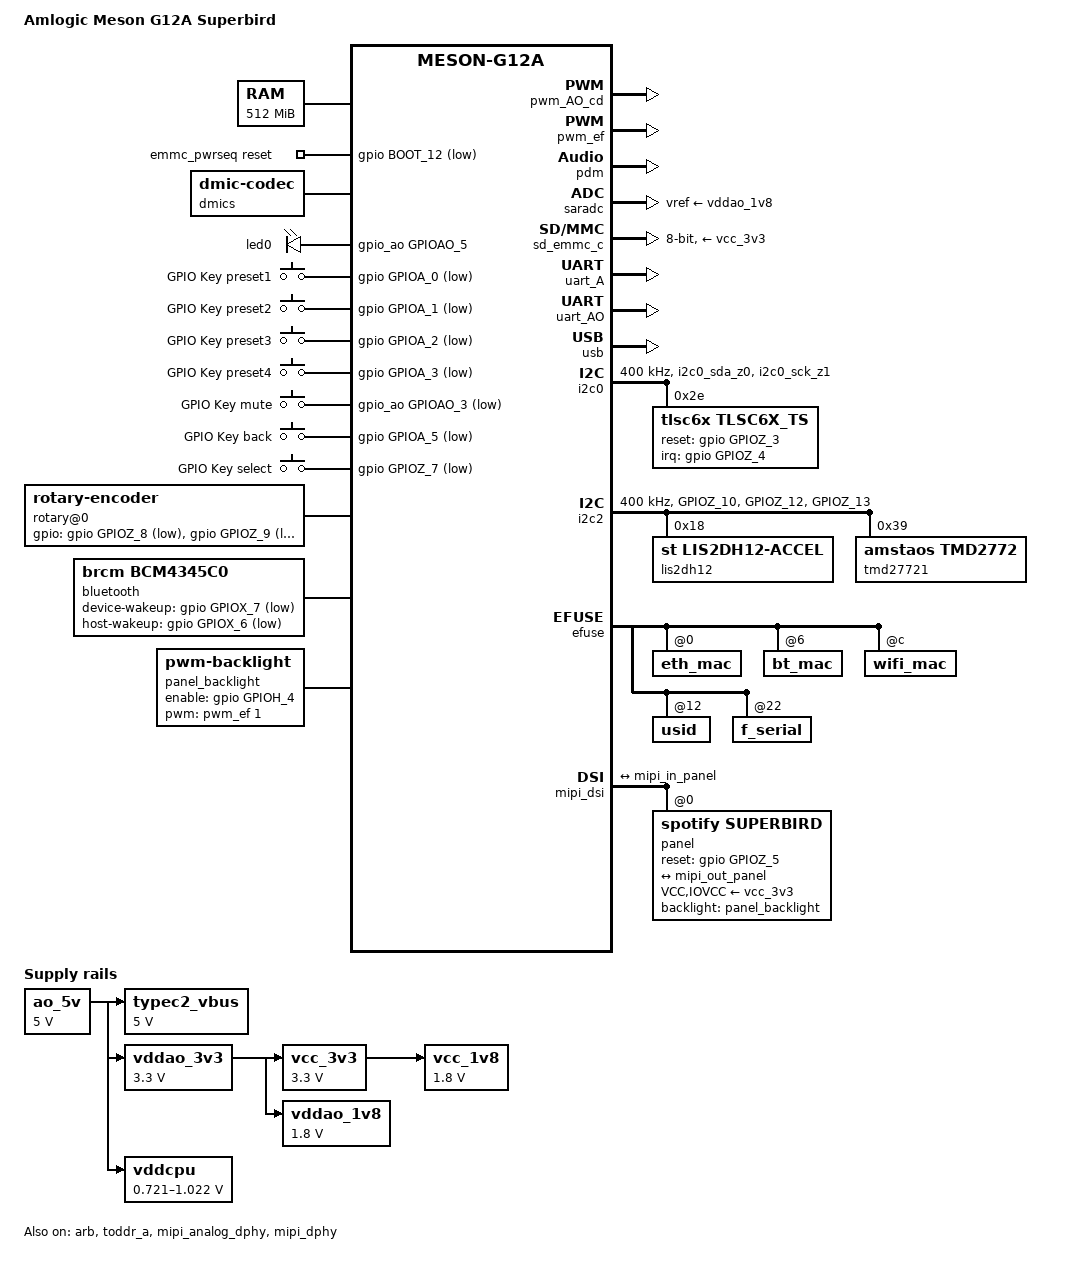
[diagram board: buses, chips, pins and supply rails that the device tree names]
// SPDX-License-Identifier: (GPL-2.0+ OR MIT)
/*
 * Copyright (c) 2018 BayLibre SAS. All rights reserved.
 */

/dts-v1/;

#include "meson-g12a.dtsi"
#include <dt-bindings/gpio/meson-g12a-gpio.h>

/ {
	compatible = "amlogic,u200", "amlogic,g12a";
	model = "Amlogic Meson G12A Superbird";

	aliases {
		serial0 = &uart_AO;
	};

	chosen {
		stdout-path = "serial0:115200n8";
	};

	memory@0 {
		device_type = "memory";
		reg = <0x0 0x0 0x0 0x20000000>;
	};

	emmc_pwrseq: emmc-pwrseq {
		compatible = "mmc-pwrseq-emmc";
		reset-gpios = <&gpio BOOT_12 GPIO_ACTIVE_LOW>;
	};

	// sdio_pwrseq: sdio-pwrseq {
	// 	compatible = "mmc-pwrseq-simple";
	// 	reset-gpios = <&gpio GPIOX_6 GPIO_ACTIVE_LOW>;
	// 	clocks = <&wifi32k>;
	// 	clock-names = "ext_clock";
	// };

	typec2_vbus: regulator-typec2_vbus {
		compatible = "regulator-fixed";
		regulator-name = "TYPEC2_VBUS";
		regulator-min-microvolt = <5000000>;
		regulator-max-microvolt = <5000000>;
		vin-supply = <&ao_5v>;
	};

	ao_5v: regulator-ao_5v {
		compatible = "regulator-fixed";
		regulator-name = "AO_5V";
		regulator-min-microvolt = <5000000>;
		regulator-max-microvolt = <5000000>;
		regulator-always-on;
	};

	vcc_1v8: regulator-vcc_1v8 {
		compatible = "regulator-fixed";
		regulator-name = "VCC_1V8";
		regulator-min-microvolt = <1800000>;
		regulator-max-microvolt = <1800000>;
		vin-supply = <&vcc_3v3>;
		regulator-always-on;
	};

	vcc_3v3: regulator-vcc_3v3 {
		compatible = "regulator-fixed";
		regulator-name = "VCC_3V3";
		regulator-min-microvolt = <3300000>;
		regulator-max-microvolt = <3300000>;
		vin-supply = <&vddao_3v3>;
		regulator-always-on;
	};

	vddao_1v8: regulator-vddao_1v8 {
		compatible = "regulator-fixed";
		regulator-name = "VDDAO_1V8";
		regulator-min-microvolt = <1800000>;
		regulator-max-microvolt = <1800000>;
		vin-supply = <&vddao_3v3>;
		regulator-always-on;
	};

	vddao_3v3: regulator-vddao_3v3 {
		compatible = "regulator-fixed";
		regulator-name = "VDDAO_3V3";
		regulator-min-microvolt = <3300000>;
		regulator-max-microvolt = <3300000>;
		vin-supply = <&ao_5v>;
		regulator-always-on;
	};

	vddcpu: regulator-vddcpu {
		compatible = "pwm-regulator";

		regulator-name = "VDDCPU";
		regulator-min-microvolt = <721000>;
		regulator-max-microvolt = <1022000>;

		vin-supply = <&ao_5v>;

		pwms = <&pwm_AO_cd 1 1250 0>;
		pwm-dutycycle-range = <100 0>;

		regulator-boot-on;
		regulator-always-on;
	};

	dmics: audio-codec {
		#sound-dai-cells = <0>;
		compatible = "dmic-codec";
		num-channels = <4>;
		wakeup-delay-ms = <50>;
		status = "okay";
		sound-name-prefix = "MIC";
	};

	gpioleds {
		compatible = "gpio-leds";
		status = "okay";
		led0 {
			gpios = <&gpio_ao GPIOAO_5 GPIO_ACTIVE_HIGH>;
			default-state = "on";
		};
	};

	gpio-keys {
		compatible = "gpio-keys-polled";
		poll-interval = <40>;
		status = "okay";

		pinctrl-names="default";
		pinctrl-0=<&superbird_buttons>, <&superbird_buttons_ao>;

		preset1 {
			label = "GPIO Key preset1";
			linux,code = <2>;
			gpios = <&gpio GPIOA_0 GPIO_ACTIVE_LOW>;
		};

		preset2 {
			label = "GPIO Key preset2";
			linux,code = <3>;
			gpios = <&gpio GPIOA_1 GPIO_ACTIVE_LOW>;
		};

		preset3 {
			label = "GPIO Key preset3";
			linux,code = <4>;
			gpios = <&gpio GPIOA_2 GPIO_ACTIVE_LOW>;
		};

		preset4 {
			label = "GPIO Key preset4";
			linux,code = <5>;
			gpios = <&gpio GPIOA_3 GPIO_ACTIVE_LOW>;
		};

		mute {
			label = "GPIO Key mute";
			linux,code = <50>;
			gpios = <&gpio_ao GPIOAO_3 GPIO_ACTIVE_LOW>;
		};

		back {
			label = "GPIO Key back";
			linux,code = <1>;
			gpios = <&gpio GPIOA_5 GPIO_ACTIVE_LOW>;
		};

		select {
			label = "GPIO Key select";
			linux,code = <28>;
			gpios = <&gpio GPIOZ_7 GPIO_ACTIVE_LOW>;
		};
	};

	rotary@0 {
		compatible = "rotary-encoder";

		pinctrl-names="default";
		pinctrl-0=<&superbird_rotary>;

		gpios = <&gpio GPIOZ_8 GPIO_ACTIVE_LOW>, 
			<&gpio GPIOZ_9 GPIO_ACTIVE_LOW>;
		
		linux,axis = <6>; /* REL_HWHEEL */
		rotary-encoder,encoding = "gray";
		rotary-encoder,relative-axis;
		rotary-encoder,steps-per-period = <2>;
		wakeup-source = <0>;
	};

	sound {
		compatible = "amlogic,axg-sound-card";
		model = "SUPERBIRD";
		// audio-aux-devs = <&pdm>;
		audio-routing =
			"TODDR_A IN 4", "PDM Capture";

		assigned-clocks = <&clkc CLKID_MPLL2>,
				  <&clkc CLKID_MPLL0>,
				  <&clkc CLKID_MPLL1>;
		assigned-clock-parents = <0>, <0>, <0>;
		assigned-clock-rates = <294912000>,
				       <270950400>,
				       <393216000>;
		status = "okay";

		dai-link-0 {
			sound-dai = <&toddr_a>;
		};

		dai-link-1 {
			sound-dai = <&pdm>;

			codec {
				sound-dai = <&dmics>;
			};
		};
	};

	bluetooth {
		compatible = "brcm,bcm4345c0";
		max-speed = <3000000>;
		device-wakeup-gpios = <&gpio GPIOX_7 GPIO_ACTIVE_LOW>;
		host-wakeup-gpios = <&gpio GPIOX_6 GPIO_ACTIVE_LOW>;
	};

	disabled-pins {
		pinctrl-names = "default";
		pinctrl-0 = <&superbird_disabled_pins_a
			&superbird_disabled_pins_c
			&superbird_disabled_pins_h>;
		status = "okay";
	};

	panel_backlight: backlight {
		compatible = "pwm-backlight";
		pwms = <&pwm_ef 1 30040 0>;

		brightness-levels = <0 255>;
		num-interpolated-steps = <255>;
		default-brightness-level = <100>;

		enable-gpios = <&gpio GPIOH_4 GPIO_ACTIVE_HIGH>;
		post-pwm-on-delay-ms = <10>;
		pwm-off-delay-ms = <10>;
	};
};

/* cpu */
&cpu0 {
	cpu-supply = <&vddcpu>;
	operating-points-v2 = <&cpu_opp_table>;
	clocks = <&clkc CLKID_CPU_CLK>;
	clock-latency = <50000>;
};

&cpu1 {
	cpu-supply = <&vddcpu>;
	operating-points-v2 = <&cpu_opp_table>;
	clocks = <&clkc CLKID_CPU_CLK>;
	clock-latency = <50000>;
};

&cpu2 {
	cpu-supply = <&vddcpu>;
	operating-points-v2 = <&cpu_opp_table>;
	clocks = <&clkc CLKID_CPU_CLK>;
	clock-latency = <50000>;
};

&cpu3 {
	cpu-supply = <&vddcpu>;
	operating-points-v2 = <&cpu_opp_table>;
	clocks = <&clkc CLKID_CPU_CLK>;
	clock-latency = <50000>;
};

&pwm_AO_cd {
	status = "okay";
	pinctrl-0 = <&pwm_ao_d_e_pins>;
	pinctrl-names = "default";
	clocks = <&xtal>;
	clock-names = "clkin1";
};

&pwm_ef {
	status = "okay";
	pinctrl-0 = <&pwm_f_h_pins>;
	pinctrl-names = "default";
	clocks = <&xtal>;
	clock-names = "clkin1";
};

/* Sound */
&arb {
	status = "okay";
};

&clkc_audio {
	status = "okay";
};

&toddr_a {
	status = "okay";
};

&pdm {
	pinctrl-0 = <&pdm_dclk_a_pins>, <&pdm_din0_a_pins>, <&pdm_din1_a_pins>;
	pinctrl-names = "default";
	status = "okay";
};

/* saradc */
&saradc {
	status = "okay";
	vref-supply = <&vddao_1v8>;
};

/* eMMC */
&sd_emmc_c {
	status = "okay";
	pinctrl-0 = <&emmc_ctrl_pins>, <&emmc_data_8b_pins>, <&emmc_ds_pins>;
	pinctrl-1 = <&emmc_clk_gate_pins>;
	pinctrl-names = "default", "clk-gate";

	bus-width = <8>;
	cap-mmc-highspeed;
	mmc-ddr-1_8v;
	mmc-hs200-1_8v;
	max-frequency = <200000000>;
	disable-wp;

	mmc-pwrseq = <&emmc_pwrseq>;
	vmmc-supply = <&vcc_3v3>;
	vqmmc-supply = <&vcc_1v8>;
};

/* pinctrl */
&ao_pinctrl {
	superbird_buttons_ao: superbird_buttons_ao {
		mux {
			groups = "GPIOAO_3";
			bias-disable;
			input-enable;
		};
	};
};

&periphs_pinctrl {
	// Buttons
	superbird_buttons: superbird_buttons {
		mux { /* GPIOA_5 GPIOA_6 */
			groups = "GPIOA_0",
				"GPIOA_1",
				"GPIOA_2",
				"GPIOA_3",
				// "GPIOAO_3",
				"GPIOA_5";
			bias-disable;
			input-enable;
		};
	};

	superbird_rotary: superbird_rotary {
		mux {
			groups = "GPIOZ_7", 
				"GPIOZ_8",
				"GPIOZ_9";
			bias-disable;
			input-enable;
		};
	};

	// Touch Related
	superbird_touch_i2c: superbird_touch_i2c {
		mux { /* GPIOZ_0 GPIOZ_1 */
			groups = "i2c0_sda_z0", "i2c0_sck_z1";
			function = "i2c0";
            drive-strength = <1>;
		};
	};

	superbird_touch_gpio: superbird_touch_gpio {
		mux {
			groups = "GPIOZ_3", "GPIOZ_4";
			function = "gpio_periphs";
            drive-strength = <1>;
		};
	};

	tp_int_input: eint@0 {
		mux {
			groups = "GPIOZ_4";
			bias-pull-up;
		};
	};

	state_rst_output0: rstoutput0 {
		mux {
			groups = "GPIOZ_3";
			output-low;
			bias-pull-down;
            drive-strength = <1>;
		};
	};

	state_rst_output1: rstoutput1 {
		mux {
			groups = "GPIOZ_3";
			output-high;
			bias-pull-up;
            drive-strength = <1>;
		};
	};

	// IIO Sensors
	superbird_prox_gpio: superbird_prox_gpio {
		mux {
			groups = "GPIOZ_10";
			bias-pull-down;
		};
	};

	superbird_imu_gpio: superbird_imu_gpio {
		mux {
			groups = "GPIOZ_12", "GPIOZ_13";
			bias-pull-down;
		};
	};

	// Bluetooth
	superbird_bluetooth_bt_wake_host: superbird_bluetooth_bt_wake_host {
		mux {
			groups = "GPIOX_6";
			bias-disable;
			input-enable;
		};
	};

	superbird_bluetooth_host_wake_bt: superbird_bluetooth_host_wake_bt {
		mux {
			groups = "GPIOX_7";
			bias-disable;
			output-enable;
			drive-strength = "1";
		};
	};

	superbird_lcd_reset_pin: superbird_lcd_reset_pin {
		mux {
			groups = "GPIOZ_5";
			// function = "gpio_periphs";
			bias-disable;
			drive-strength = <1>;
		};
	};

	bl_enable: bl_enable {
		mux {
			groups = "GPIOH_4";
			function = "gpio_periphs";
			bias-pull-up;
			output-high;
		};
	};

	// superbird_mfi_i2c_pins: superbird_mfi_i2c_pins {
	// 	mux {
	// 		groups = "i2c3_sda_a", "i2c3_sck_a";
	// 		function = "i2c3";
	// 		bias-disable;
	// 		drive-strength = <2>;
	// 	};
	// };

	superbird_disabled_pins_c: superbird_disabled_pins_c {
		mux {
			groups = "GPIOC_0",
				"GPIOC_1",
				"GPIOC_2",
				"GPIOC_3",
				"GPIOC_5",
				"GPIOC_6",
				"GPIOC_7";
			bias-pull-down;
			output-low;
		};
	};

	superbird_disabled_pins_a: superbird_disabled_pins_a {
		mux {
			groups = "GPIOA_10",
				"GPIOA_11",
				"GPIOA_12",
				"GPIOA_13";
			bias-pull-down;
			output-low;
		};
	};

	superbird_disabled_pins_h: superbird_disabled_pins_h {
		mux {
			groups = "GPIOH_0",
				"GPIOH_1",
				"GPIOH_2",
				"GPIOH_3",
				"GPIOH_6",
				"GPIOH_7",
				"GPIOH_8";
			bias-pull-down;
			output-low;
		};
	};
};

/* uart */
&uart_A {
	status = "okay";
	pinctrl-0 = <&uart_a_pins>, <&uart_a_cts_rts_pins>;
	pinctrl-names = "default";
	uart-has-rtscts;

	// bluetooth {
	// 	compatible = "brcm,bcm4345c5";
	// 	max-speed = <3000000>;
	// 	shutdown-gpios = <&gpio GPIOX_17 GPIO_ACTIVE_HIGH>;
	// 	device-wakeup-gpios = <&gpio GPIOX_7 GPIO_ACTIVE_LOW>;
	// 	host-wakeup-gpios = <&gpio GPIOX_6 GPIO_ACTIVE_LOW>;
	// 	// clocks = <&wifi32k>;
	// 	// clock-names = "lpo";
	// };
};

&uart_AO {
	status = "okay";
	pinctrl-0 = <&uart_ao_a_pins>;
	pinctrl-names = "default";
};

/* usb */
&usb {
	status = "okay";
};

&usb2_phy0 {
	phy-supply = <&typec2_vbus>;
};

// &usb3_pcie_phy {
// 	phy-supply = <&typec2_vbus>;
// };

/* i2c */
&i2c0 {
	status = "okay";
	interrupts = <GIC_SPI 21 IRQ_TYPE_EDGE_RISING>,
		<GIC_SPI 91 IRQ_TYPE_EDGE_RISING>;

	pinctrl-names="default";
	pinctrl-0=<&superbird_touch_i2c>;
	clock-frequency = <400000>;

	tlsc6x_ts@2e {
		compatible = "tlsc6x,tlsc6x_ts";
		status = "okay";
		reg = <0x2e>;
		reset-gpio = <&gpio GPIOZ_3 GPIO_ACTIVE_HIGH>;
		irq-gpio = <&gpio GPIOZ_4 GPIO_ACTIVE_HIGH>;
		polling-mode = <0>; /*1:polling mode, 0:irq mode*/
		TP_MAX_X = <480>;
		TP_MAX_Y = <800>;
	};
};

&i2c2 {
	status = "okay";
	interrupts = <GIC_SPI 215 IRQ_TYPE_EDGE_RISING>,
		<GIC_SPI 94 IRQ_TYPE_EDGE_RISING>;

	pinctrl-names="default";
	pinctrl-0=<&i2c2_sda_z_pins>, <&i2c2_sck_z_pins>, 
		<&superbird_prox_gpio>, <&superbird_imu_gpio>;

	clock-frequency= <400000>;

	lis2dh12@18 {
		compatible = "st,lis2dh12-accel";
		reg = <0x18>;
	};
	
	// max20332@35 {
	// 	reg = <0x35>;
	// };
	
	tmd27721@39 {
		compatible = "amstaos,tmd2772";
		reg = <0x39>;
		// enable-proxy = "false";
		// enable-als = "true";
	};
};

// &i2c3 {
// 	status = "okay";
// 	pinctrl-names="default";
// 	pinctrl-0=<&superbird_mfi_i2c_pins>;
// 	clock-frequency= <400000>;

// 	mfi@10 {
// 		compatible = "apple_mfi_auth";
// 		reg = <0x10>;		
// 	};
// };

/* efuse nvmem */
&efuse {
	eth_mac: eth_mac@0 {
		reg = <0x0 0x06>;
	};

	bt_mac: bt_mac@6 {
		reg = <0x6 0x06>;
	};

	wifi_mac: wifi_mac@12 {
		reg = <0x0c 0x06>;
	};

	usid: usid@18 {
		reg = <0x12 0x10>;
	};

	f_serial: f_serial@34 {
		reg = <0x22 0x0f>;
	};
};

&gpio_intc {
	 compatible = "amlogic,meson-gpio-intc-ext",
					"amlogic,meson-g12a-gpio-intc";
};

&eth_phy {
	status = "disabled";
};

&mipi_analog_dphy {
	status = "okay";
};

&mipi_dphy {
	status = "okay";
};

&mipi_dsi {
	status = "okay";

	assigned-clocks = <&clkc CLKID_GP0_PLL>,
			  <&clkc CLKID_MIPI_DSI_PXCLK_SEL>,
			  <&clkc CLKID_MIPI_DSI_PXCLK>,
			  <&clkc CLKID_CTS_ENCL_SEL>,
			  <&clkc CLKID_VCLK2_SEL>;
	assigned-clock-parents = <0>,
				 <&clkc CLKID_GP0_PLL>,
				 <0>,
				 <&clkc CLKID_VCLK2_DIV1>,
				 <&clkc CLKID_GP0_PLL>;
	assigned-clock-rates = <432000000>,
			       <0>,
			       <432000000>,
			       <0>,
			       <0>;

	panel@0 {
		compatible = "spotify,superbird", "sitronix,st7701";
		reg = <0>;
		VCC-supply = <&vcc_3v3>;
		IOVCC-supply = <&vcc_3v3>;
		reset-gpios = <&gpio GPIOZ_5 GPIO_ACTIVE_HIGH>;
		backlight = <&panel_backlight>;

		port {
			mipi_in_panel: endpoint {
				remote-endpoint = <&mipi_out_panel>;
			};
		};
	};

	ports {
		#address-cells = <1>;
		#size-cells = <0>;

		port@1 {
			mipi_out_panel: endpoint {
				remote-endpoint = <&mipi_in_panel>;
			};
		};
	};
};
